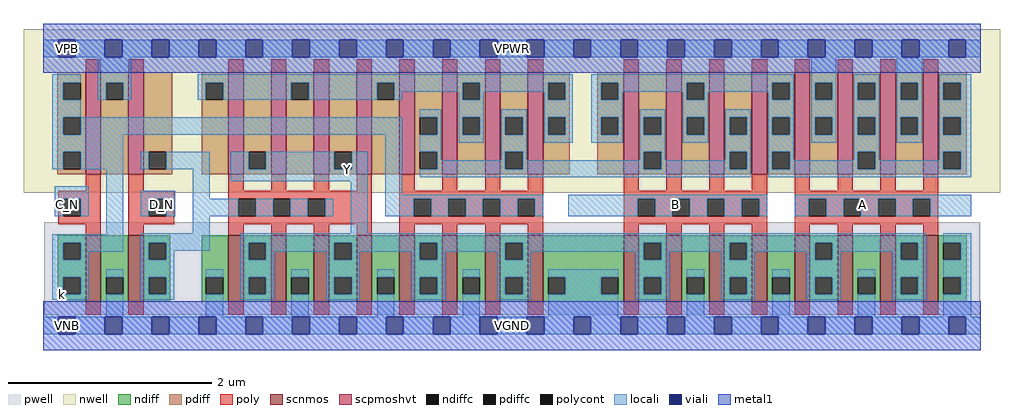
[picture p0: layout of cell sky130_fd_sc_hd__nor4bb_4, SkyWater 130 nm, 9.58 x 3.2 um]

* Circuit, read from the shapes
.subckt sky130_fd_sc_hd__nor4bb_4 A B C_N D_N VGND VNB VPB VPWR Y
XM1 VGND C_N k VNB sky130_fd_pr__nfet_01v8 w=0.65 l=0.15
XM2 n1 D_N VGND VNB sky130_fd_pr__nfet_01v8 w=0.65 l=0.15
XM3 Y n1 VGND VNB sky130_fd_pr__nfet_01v8 w=0.65 l=0.15 m=4
XM4 Y k VGND VNB sky130_fd_pr__nfet_01v8 w=0.65 l=0.15 m=4
XM5 Y B VGND VNB sky130_fd_pr__nfet_01v8 w=0.65 l=0.15 m=4
XM6 Y A VGND VNB sky130_fd_pr__nfet_01v8 w=0.65 l=0.15 m=4
XM7 VPWR C_N k VPB sky130_fd_pr__pfet_01v8_hvt w=1 l=0.15
XM8 n1 D_N VPWR VPB sky130_fd_pr__pfet_01v8_hvt w=1 l=0.15
XM9 Y n1 n2 VPB sky130_fd_pr__pfet_01v8_hvt w=1 l=0.15 m=4
XM10 n3 k n2 VPB sky130_fd_pr__pfet_01v8_hvt w=1 l=0.15 m=4
XM11 n3 B n4 VPB sky130_fd_pr__pfet_01v8_hvt w=1 l=0.15 m=4
XM12 VPWR A n4 VPB sky130_fd_pr__pfet_01v8_hvt w=1 l=0.15 m=4
.ends

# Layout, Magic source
magic
tech sky130B
magscale 1 2
<< nwell >>
rect -38 261 1878 582
<< pwell >>
rect 2 21 1839 203
rect 30 -17 64 21
<< scnmos >>
rect 83 47 113 177
rect 167 47 197 177
rect 363 47 393 177
rect 447 47 477 177
rect 531 47 561 177
rect 615 47 645 177
rect 699 47 729 177
rect 783 47 813 177
rect 867 47 897 177
rect 951 47 981 177
rect 1139 47 1169 177
rect 1223 47 1253 177
rect 1307 47 1337 177
rect 1391 47 1421 177
rect 1475 47 1505 177
rect 1559 47 1589 177
rect 1643 47 1673 177
rect 1727 47 1757 177
<< scpmoshvt >>
rect 83 297 113 497
rect 167 297 197 497
rect 363 297 393 497
rect 447 297 477 497
rect 531 297 561 497
rect 615 297 645 497
rect 699 297 729 497
rect 783 297 813 497
rect 867 297 897 497
rect 951 297 981 497
rect 1139 297 1169 497
rect 1223 297 1253 497
rect 1307 297 1337 497
rect 1391 297 1421 497
rect 1475 297 1505 497
rect 1559 297 1589 497
rect 1643 297 1673 497
rect 1727 297 1757 497
<< ndiff >>
rect 28 163 83 177
rect 28 129 39 163
rect 73 129 83 163
rect 28 95 83 129
rect 28 61 39 95
rect 73 61 83 95
rect 28 47 83 61
rect 113 95 167 177
rect 113 61 123 95
rect 157 61 167 95
rect 113 47 167 61
rect 197 163 249 177
rect 197 129 207 163
rect 241 129 249 163
rect 197 95 249 129
rect 197 61 207 95
rect 241 61 249 95
rect 197 47 249 61
rect 311 95 363 177
rect 311 61 319 95
rect 353 61 363 95
rect 311 47 363 61
rect 393 163 447 177
rect 393 129 403 163
rect 437 129 447 163
rect 393 95 447 129
rect 393 61 403 95
rect 437 61 447 95
rect 393 47 447 61
rect 477 95 531 177
rect 477 61 487 95
rect 521 61 531 95
rect 477 47 531 61
rect 561 163 615 177
rect 561 129 571 163
rect 605 129 615 163
rect 561 95 615 129
rect 561 61 571 95
rect 605 61 615 95
rect 561 47 615 61
rect 645 95 699 177
rect 645 61 655 95
rect 689 61 699 95
rect 645 47 699 61
rect 729 163 783 177
rect 729 129 739 163
rect 773 129 783 163
rect 729 95 783 129
rect 729 61 739 95
rect 773 61 783 95
rect 729 47 783 61
rect 813 95 867 177
rect 813 61 823 95
rect 857 61 867 95
rect 813 47 867 61
rect 897 163 951 177
rect 897 129 907 163
rect 941 129 951 163
rect 897 95 951 129
rect 897 61 907 95
rect 941 61 951 95
rect 897 47 951 61
rect 981 95 1139 177
rect 981 61 991 95
rect 1025 61 1095 95
rect 1129 61 1139 95
rect 981 47 1139 61
rect 1169 163 1223 177
rect 1169 129 1179 163
rect 1213 129 1223 163
rect 1169 95 1223 129
rect 1169 61 1179 95
rect 1213 61 1223 95
rect 1169 47 1223 61
rect 1253 95 1307 177
rect 1253 61 1263 95
rect 1297 61 1307 95
rect 1253 47 1307 61
rect 1337 163 1391 177
rect 1337 129 1347 163
rect 1381 129 1391 163
rect 1337 95 1391 129
rect 1337 61 1347 95
rect 1381 61 1391 95
rect 1337 47 1391 61
rect 1421 95 1475 177
rect 1421 61 1431 95
rect 1465 61 1475 95
rect 1421 47 1475 61
rect 1505 163 1559 177
rect 1505 129 1515 163
rect 1549 129 1559 163
rect 1505 95 1559 129
rect 1505 61 1515 95
rect 1549 61 1559 95
rect 1505 47 1559 61
rect 1589 95 1643 177
rect 1589 61 1599 95
rect 1633 61 1643 95
rect 1589 47 1643 61
rect 1673 163 1727 177
rect 1673 129 1683 163
rect 1717 129 1727 163
rect 1673 95 1727 129
rect 1673 61 1683 95
rect 1717 61 1727 95
rect 1673 47 1727 61
rect 1757 163 1813 177
rect 1757 129 1767 163
rect 1801 129 1813 163
rect 1757 95 1813 129
rect 1757 61 1767 95
rect 1801 61 1813 95
rect 1757 47 1813 61
<< pdiff >>
rect 27 477 83 497
rect 27 443 39 477
rect 73 443 83 477
rect 27 409 83 443
rect 27 375 39 409
rect 73 375 83 409
rect 27 341 83 375
rect 27 307 39 341
rect 73 307 83 341
rect 27 297 83 307
rect 113 477 167 497
rect 113 443 123 477
rect 157 443 167 477
rect 113 297 167 443
rect 197 341 253 497
rect 197 307 207 341
rect 241 307 253 341
rect 197 297 253 307
rect 311 477 363 497
rect 311 443 319 477
rect 353 443 363 477
rect 311 297 363 443
rect 393 341 447 497
rect 393 307 403 341
rect 437 307 447 341
rect 393 297 447 307
rect 477 477 531 497
rect 477 443 487 477
rect 521 443 531 477
rect 477 297 531 443
rect 561 341 615 497
rect 561 307 571 341
rect 605 307 615 341
rect 561 297 615 307
rect 645 477 699 497
rect 645 443 655 477
rect 689 443 699 477
rect 645 297 699 443
rect 729 409 783 497
rect 729 375 739 409
rect 773 375 783 409
rect 729 341 783 375
rect 729 307 739 341
rect 773 307 783 341
rect 729 297 783 307
rect 813 477 867 497
rect 813 443 823 477
rect 857 443 867 477
rect 813 409 867 443
rect 813 375 823 409
rect 857 375 867 409
rect 813 297 867 375
rect 897 409 951 497
rect 897 375 907 409
rect 941 375 951 409
rect 897 341 951 375
rect 897 307 907 341
rect 941 307 951 341
rect 897 297 951 307
rect 981 477 1033 497
rect 981 443 991 477
rect 1025 443 1033 477
rect 981 409 1033 443
rect 981 375 991 409
rect 1025 375 1033 409
rect 981 297 1033 375
rect 1087 477 1139 497
rect 1087 443 1095 477
rect 1129 443 1139 477
rect 1087 409 1139 443
rect 1087 375 1095 409
rect 1129 375 1139 409
rect 1087 297 1139 375
rect 1169 409 1223 497
rect 1169 375 1179 409
rect 1213 375 1223 409
rect 1169 341 1223 375
rect 1169 307 1179 341
rect 1213 307 1223 341
rect 1169 297 1223 307
rect 1253 477 1307 497
rect 1253 443 1263 477
rect 1297 443 1307 477
rect 1253 409 1307 443
rect 1253 375 1263 409
rect 1297 375 1307 409
rect 1253 297 1307 375
rect 1337 409 1391 497
rect 1337 375 1347 409
rect 1381 375 1391 409
rect 1337 341 1391 375
rect 1337 307 1347 341
rect 1381 307 1391 341
rect 1337 297 1391 307
rect 1421 477 1475 497
rect 1421 443 1431 477
rect 1465 443 1475 477
rect 1421 409 1475 443
rect 1421 375 1431 409
rect 1465 375 1475 409
rect 1421 341 1475 375
rect 1421 307 1431 341
rect 1465 307 1475 341
rect 1421 297 1475 307
rect 1505 477 1559 497
rect 1505 443 1515 477
rect 1549 443 1559 477
rect 1505 409 1559 443
rect 1505 375 1515 409
rect 1549 375 1559 409
rect 1505 297 1559 375
rect 1589 477 1643 497
rect 1589 443 1599 477
rect 1633 443 1643 477
rect 1589 409 1643 443
rect 1589 375 1599 409
rect 1633 375 1643 409
rect 1589 341 1643 375
rect 1589 307 1599 341
rect 1633 307 1643 341
rect 1589 297 1643 307
rect 1673 477 1727 497
rect 1673 443 1683 477
rect 1717 443 1727 477
rect 1673 409 1727 443
rect 1673 375 1683 409
rect 1717 375 1727 409
rect 1673 297 1727 375
rect 1757 477 1813 497
rect 1757 443 1767 477
rect 1801 443 1813 477
rect 1757 409 1813 443
rect 1757 375 1767 409
rect 1801 375 1813 409
rect 1757 341 1813 375
rect 1757 307 1767 341
rect 1801 307 1813 341
rect 1757 297 1813 307
<< ndiffc >>
rect 39 129 73 163
rect 39 61 73 95
rect 123 61 157 95
rect 207 129 241 163
rect 207 61 241 95
rect 319 61 353 95
rect 403 129 437 163
rect 403 61 437 95
rect 487 61 521 95
rect 571 129 605 163
rect 571 61 605 95
rect 655 61 689 95
rect 739 129 773 163
rect 739 61 773 95
rect 823 61 857 95
rect 907 129 941 163
rect 907 61 941 95
rect 991 61 1025 95
rect 1095 61 1129 95
rect 1179 129 1213 163
rect 1179 61 1213 95
rect 1263 61 1297 95
rect 1347 129 1381 163
rect 1347 61 1381 95
rect 1431 61 1465 95
rect 1515 129 1549 163
rect 1515 61 1549 95
rect 1599 61 1633 95
rect 1683 129 1717 163
rect 1683 61 1717 95
rect 1767 129 1801 163
rect 1767 61 1801 95
<< pdiffc >>
rect 39 443 73 477
rect 39 375 73 409
rect 39 307 73 341
rect 123 443 157 477
rect 207 307 241 341
rect 319 443 353 477
rect 403 307 437 341
rect 487 443 521 477
rect 571 307 605 341
rect 655 443 689 477
rect 739 375 773 409
rect 739 307 773 341
rect 823 443 857 477
rect 823 375 857 409
rect 907 375 941 409
rect 907 307 941 341
rect 991 443 1025 477
rect 991 375 1025 409
rect 1095 443 1129 477
rect 1095 375 1129 409
rect 1179 375 1213 409
rect 1179 307 1213 341
rect 1263 443 1297 477
rect 1263 375 1297 409
rect 1347 375 1381 409
rect 1347 307 1381 341
rect 1431 443 1465 477
rect 1431 375 1465 409
rect 1431 307 1465 341
rect 1515 443 1549 477
rect 1515 375 1549 409
rect 1599 443 1633 477
rect 1599 375 1633 409
rect 1599 307 1633 341
rect 1683 443 1717 477
rect 1683 375 1717 409
rect 1767 443 1801 477
rect 1767 375 1801 409
rect 1767 307 1801 341
<< poly >>
rect 83 497 113 523
rect 167 497 197 523
rect 363 497 393 523
rect 447 497 477 523
rect 531 497 561 523
rect 615 497 645 523
rect 699 497 729 523
rect 783 497 813 523
rect 867 497 897 523
rect 951 497 981 523
rect 1139 497 1169 523
rect 1223 497 1253 523
rect 1307 497 1337 523
rect 1391 497 1421 523
rect 1475 497 1505 523
rect 1559 497 1589 523
rect 1643 497 1673 523
rect 1727 497 1757 523
rect 83 265 113 297
rect 29 249 113 265
rect 29 215 39 249
rect 73 215 113 249
rect 29 199 113 215
rect 83 177 113 199
rect 167 265 197 297
rect 363 265 393 297
rect 447 265 477 297
rect 531 265 561 297
rect 615 265 645 297
rect 167 249 257 265
rect 167 215 207 249
rect 241 215 257 249
rect 167 199 257 215
rect 363 249 645 265
rect 363 215 383 249
rect 417 215 451 249
rect 485 215 519 249
rect 553 215 645 249
rect 363 199 645 215
rect 167 177 197 199
rect 363 177 393 199
rect 447 177 477 199
rect 531 177 561 199
rect 615 177 645 199
rect 699 265 729 297
rect 783 265 813 297
rect 867 265 897 297
rect 951 265 981 297
rect 699 249 981 265
rect 699 215 727 249
rect 761 215 795 249
rect 829 215 863 249
rect 897 215 931 249
rect 965 215 981 249
rect 699 199 981 215
rect 699 177 729 199
rect 783 177 813 199
rect 867 177 897 199
rect 951 177 981 199
rect 1139 265 1169 297
rect 1223 265 1253 297
rect 1307 265 1337 297
rect 1391 265 1421 297
rect 1139 249 1421 265
rect 1139 215 1167 249
rect 1201 215 1235 249
rect 1269 215 1303 249
rect 1337 215 1371 249
rect 1405 215 1421 249
rect 1139 199 1421 215
rect 1139 177 1169 199
rect 1223 177 1253 199
rect 1307 177 1337 199
rect 1391 177 1421 199
rect 1475 265 1505 297
rect 1559 265 1589 297
rect 1643 265 1673 297
rect 1727 265 1757 297
rect 1475 249 1757 265
rect 1475 215 1503 249
rect 1537 215 1571 249
rect 1605 215 1639 249
rect 1673 215 1707 249
rect 1741 215 1757 249
rect 1475 199 1757 215
rect 1475 177 1505 199
rect 1559 177 1589 199
rect 1643 177 1673 199
rect 1727 177 1757 199
rect 83 21 113 47
rect 167 21 197 47
rect 363 21 393 47
rect 447 21 477 47
rect 531 21 561 47
rect 615 21 645 47
rect 699 21 729 47
rect 783 21 813 47
rect 867 21 897 47
rect 951 21 981 47
rect 1139 21 1169 47
rect 1223 21 1253 47
rect 1307 21 1337 47
rect 1391 21 1421 47
rect 1475 21 1505 47
rect 1559 21 1589 47
rect 1643 21 1673 47
rect 1727 21 1757 47
<< polycont >>
rect 39 215 73 249
rect 207 215 241 249
rect 383 215 417 249
rect 451 215 485 249
rect 519 215 553 249
rect 727 215 761 249
rect 795 215 829 249
rect 863 215 897 249
rect 931 215 965 249
rect 1167 215 1201 249
rect 1235 215 1269 249
rect 1303 215 1337 249
rect 1371 215 1405 249
rect 1503 215 1537 249
rect 1571 215 1605 249
rect 1639 215 1673 249
rect 1707 215 1741 249
<< locali >>
rect 0 527 29 561
rect 63 527 121 561
rect 155 527 213 561
rect 247 527 305 561
rect 339 527 397 561
rect 431 527 489 561
rect 523 527 581 561
rect 615 527 673 561
rect 707 527 765 561
rect 799 527 857 561
rect 891 527 949 561
rect 983 527 1041 561
rect 1075 527 1133 561
rect 1167 527 1225 561
rect 1259 527 1317 561
rect 1351 527 1409 561
rect 1443 527 1501 561
rect 1535 527 1593 561
rect 1627 527 1685 561
rect 1719 527 1777 561
rect 1811 527 1840 561
rect 17 477 73 493
rect 17 443 39 477
rect 107 477 173 527
rect 107 443 123 477
rect 157 443 173 477
rect 303 477 1039 493
rect 303 443 319 477
rect 353 443 487 477
rect 521 443 655 477
rect 689 459 823 477
rect 689 443 705 459
rect 815 443 823 459
rect 857 459 991 477
rect 857 443 865 459
rect 17 409 73 443
rect 739 409 781 425
rect 17 375 39 409
rect 73 375 705 409
rect 17 341 157 375
rect 17 307 39 341
rect 73 307 157 341
rect 191 307 207 341
rect 241 307 327 341
rect 22 249 89 273
rect 22 215 39 249
rect 73 215 89 249
rect 123 179 157 307
rect 191 249 259 265
rect 191 215 207 249
rect 241 215 259 249
rect 293 249 327 307
rect 368 307 403 341
rect 437 307 571 341
rect 605 307 637 341
rect 368 283 637 307
rect 293 215 383 249
rect 417 215 451 249
rect 485 215 519 249
rect 553 215 569 249
rect 293 181 327 215
rect 603 181 637 283
rect 671 257 705 375
rect 773 375 781 409
rect 739 341 781 375
rect 815 409 865 443
rect 983 443 991 459
rect 1025 443 1039 477
rect 815 375 823 409
rect 857 375 865 409
rect 815 359 865 375
rect 899 409 949 425
rect 899 375 907 409
rect 941 375 949 409
rect 773 325 781 341
rect 899 341 949 375
rect 983 409 1039 443
rect 983 375 991 409
rect 1025 375 1039 409
rect 983 359 1039 375
rect 1076 477 1473 493
rect 1076 443 1095 477
rect 1129 459 1263 477
rect 1129 443 1137 459
rect 1076 409 1137 443
rect 1255 443 1263 459
rect 1297 459 1431 477
rect 1297 443 1305 459
rect 1076 375 1095 409
rect 1129 375 1137 409
rect 1076 359 1137 375
rect 1171 409 1221 425
rect 1171 375 1179 409
rect 1213 375 1221 409
rect 899 325 907 341
rect 773 307 907 325
rect 941 325 949 341
rect 1171 341 1221 375
rect 1255 409 1305 443
rect 1423 443 1431 459
rect 1465 443 1473 477
rect 1255 375 1263 409
rect 1297 375 1305 409
rect 1255 359 1305 375
rect 1339 409 1389 425
rect 1339 375 1347 409
rect 1381 375 1389 409
rect 1171 325 1179 341
rect 941 307 1179 325
rect 1213 325 1221 341
rect 1339 341 1389 375
rect 1339 325 1347 341
rect 1213 307 1347 325
rect 1381 307 1389 341
rect 739 291 1389 307
rect 1423 409 1473 443
rect 1423 375 1431 409
rect 1465 375 1473 409
rect 1423 341 1473 375
rect 1507 477 1557 527
rect 1507 443 1515 477
rect 1549 443 1557 477
rect 1507 409 1557 443
rect 1507 375 1515 409
rect 1549 375 1557 409
rect 1507 359 1557 375
rect 1591 477 1641 493
rect 1591 443 1599 477
rect 1633 443 1641 477
rect 1591 409 1641 443
rect 1591 375 1599 409
rect 1633 375 1641 409
rect 1423 307 1431 341
rect 1465 325 1473 341
rect 1591 341 1641 375
rect 1675 477 1725 527
rect 1675 443 1683 477
rect 1717 443 1725 477
rect 1675 409 1725 443
rect 1675 375 1683 409
rect 1717 375 1725 409
rect 1675 359 1725 375
rect 1759 477 1822 493
rect 1759 443 1767 477
rect 1801 443 1822 477
rect 1759 409 1822 443
rect 1759 375 1767 409
rect 1801 375 1822 409
rect 1591 325 1599 341
rect 1465 307 1599 325
rect 1633 325 1641 341
rect 1759 341 1822 375
rect 1759 325 1767 341
rect 1633 307 1767 325
rect 1801 307 1822 341
rect 1423 291 1822 307
rect 671 249 981 257
rect 671 215 727 249
rect 761 215 795 249
rect 829 215 863 249
rect 897 215 931 249
rect 965 215 981 249
rect 1030 249 1421 257
rect 1030 215 1167 249
rect 1201 215 1235 249
rect 1269 215 1303 249
rect 1337 215 1371 249
rect 1405 215 1421 249
rect 1475 249 1822 257
rect 1475 215 1503 249
rect 1537 215 1571 249
rect 1605 215 1639 249
rect 1673 215 1707 249
rect 1741 215 1822 249
rect 17 163 157 179
rect 17 129 39 163
rect 73 145 157 163
rect 191 163 327 181
rect 73 129 89 145
rect 17 95 89 129
rect 191 129 207 163
rect 241 147 327 163
rect 387 163 1733 181
rect 241 129 257 147
rect 17 61 39 95
rect 73 61 89 95
rect 17 51 89 61
rect 123 95 157 111
rect 123 17 157 61
rect 191 95 257 129
rect 387 129 403 163
rect 437 145 571 163
rect 437 129 453 145
rect 191 61 207 95
rect 241 61 257 95
rect 191 51 257 61
rect 319 95 353 111
rect 319 17 353 61
rect 387 95 453 129
rect 555 129 571 145
rect 605 145 739 163
rect 605 129 621 145
rect 387 61 403 95
rect 437 61 453 95
rect 387 51 453 61
rect 487 95 521 111
rect 487 17 521 61
rect 555 95 621 129
rect 723 129 739 145
rect 773 145 907 163
rect 773 129 789 145
rect 555 61 571 95
rect 605 61 621 95
rect 555 51 621 61
rect 655 95 689 111
rect 655 17 689 61
rect 723 95 789 129
rect 891 129 907 145
rect 941 145 1179 163
rect 941 129 957 145
rect 723 61 739 95
rect 773 61 789 95
rect 723 51 789 61
rect 823 95 857 111
rect 823 17 857 61
rect 891 95 957 129
rect 1163 129 1179 145
rect 1213 145 1347 163
rect 1213 129 1229 145
rect 891 61 907 95
rect 941 61 957 95
rect 891 51 957 61
rect 991 95 1129 111
rect 1025 61 1095 95
rect 991 17 1129 61
rect 1163 95 1229 129
rect 1331 129 1347 145
rect 1381 145 1515 163
rect 1381 129 1397 145
rect 1163 61 1179 95
rect 1213 61 1229 95
rect 1163 51 1229 61
rect 1263 95 1297 111
rect 1263 17 1297 61
rect 1331 95 1397 129
rect 1499 129 1515 145
rect 1549 145 1683 163
rect 1549 129 1565 145
rect 1331 61 1347 95
rect 1381 61 1397 95
rect 1331 51 1397 61
rect 1431 95 1465 111
rect 1431 17 1465 61
rect 1499 95 1565 129
rect 1667 129 1683 145
rect 1717 129 1733 163
rect 1499 61 1515 95
rect 1549 61 1565 95
rect 1499 51 1565 61
rect 1599 95 1633 111
rect 1599 17 1633 61
rect 1667 95 1733 129
rect 1667 61 1683 95
rect 1717 61 1733 95
rect 1667 51 1733 61
rect 1767 163 1822 181
rect 1801 129 1822 163
rect 1767 95 1822 129
rect 1801 61 1822 95
rect 1767 17 1822 61
rect 0 -17 29 17
rect 63 -17 121 17
rect 155 -17 213 17
rect 247 -17 305 17
rect 339 -17 397 17
rect 431 -17 489 17
rect 523 -17 581 17
rect 615 -17 673 17
rect 707 -17 765 17
rect 799 -17 857 17
rect 891 -17 949 17
rect 983 -17 1041 17
rect 1075 -17 1133 17
rect 1167 -17 1225 17
rect 1259 -17 1317 17
rect 1351 -17 1409 17
rect 1443 -17 1501 17
rect 1535 -17 1593 17
rect 1627 -17 1685 17
rect 1719 -17 1777 17
rect 1811 -17 1840 17
<< viali >>
rect 29 527 63 561
rect 121 527 155 561
rect 213 527 247 561
rect 305 527 339 561
rect 397 527 431 561
rect 489 527 523 561
rect 581 527 615 561
rect 673 527 707 561
rect 765 527 799 561
rect 857 527 891 561
rect 949 527 983 561
rect 1041 527 1075 561
rect 1133 527 1167 561
rect 1225 527 1259 561
rect 1317 527 1351 561
rect 1409 527 1443 561
rect 1501 527 1535 561
rect 1593 527 1627 561
rect 1685 527 1719 561
rect 1777 527 1811 561
rect 29 -17 63 17
rect 121 -17 155 17
rect 213 -17 247 17
rect 305 -17 339 17
rect 397 -17 431 17
rect 489 -17 523 17
rect 581 -17 615 17
rect 673 -17 707 17
rect 765 -17 799 17
rect 857 -17 891 17
rect 949 -17 983 17
rect 1041 -17 1075 17
rect 1133 -17 1167 17
rect 1225 -17 1259 17
rect 1317 -17 1351 17
rect 1409 -17 1443 17
rect 1501 -17 1535 17
rect 1593 -17 1627 17
rect 1685 -17 1719 17
rect 1777 -17 1811 17
<< metal1 >>
rect 0 561 1840 592
rect 0 527 29 561
rect 63 527 121 561
rect 155 527 213 561
rect 247 527 305 561
rect 339 527 397 561
rect 431 527 489 561
rect 523 527 581 561
rect 615 527 673 561
rect 707 527 765 561
rect 799 527 857 561
rect 891 527 949 561
rect 983 527 1041 561
rect 1075 527 1133 561
rect 1167 527 1225 561
rect 1259 527 1317 561
rect 1351 527 1409 561
rect 1443 527 1501 561
rect 1535 527 1593 561
rect 1627 527 1685 561
rect 1719 527 1777 561
rect 1811 527 1840 561
rect 0 496 1840 527
rect 0 17 1840 48
rect 0 -17 29 17
rect 63 -17 121 17
rect 155 -17 213 17
rect 247 -17 305 17
rect 339 -17 397 17
rect 431 -17 489 17
rect 523 -17 581 17
rect 615 -17 673 17
rect 707 -17 765 17
rect 799 -17 857 17
rect 891 -17 949 17
rect 983 -17 1041 17
rect 1075 -17 1133 17
rect 1167 -17 1225 17
rect 1259 -17 1317 17
rect 1351 -17 1409 17
rect 1443 -17 1501 17
rect 1535 -17 1593 17
rect 1627 -17 1685 17
rect 1719 -17 1777 17
rect 1811 -17 1840 17
rect 0 -48 1840 -17
<< labels >>
flabel locali s 214 221 248 255 0 FreeSans 400 180 0 0 D_N
port 4 nsew signal input
flabel locali s 580 289 614 323 0 FreeSans 400 180 0 0 Y
port 9 nsew signal output
flabel locali s 1592 221 1626 255 0 FreeSans 400 180 0 0 A
port 1 nsew signal input
flabel locali s 1224 221 1258 255 0 FreeSans 400 180 0 0 B
port 2 nsew signal input
flabel locali s 30 221 64 255 0 FreeSans 400 0 0 0 C_N
port 3 nsew signal input
flabel pwell s 30 -17 64 17 0 FreeSans 200 0 0 0 VNB
port 6 nsew ground bidirectional
flabel nwell s 30 527 64 561 0 FreeSans 200 0 0 0 VPB
port 7 nsew power bidirectional
flabel metal1 s 30 -17 64 17 0 FreeSans 200 0 0 0 VGND
port 5 nsew ground bidirectional abutment
flabel metal1 s 30 527 64 561 0 FreeSans 200 0 0 0 VPWR
port 8 nsew power bidirectional abutment
flabel ndiff 38 61 38 61 0 FreeSans 240 0 0 0 k
rlabel comment s 0 0 0 0 4 nor4bb_4
rlabel metal1 s 0 -48 1840 48 1 VGND
port 5 nsew ground bidirectional abutment
rlabel metal1 s 0 496 1840 592 1 VPWR
port 8 nsew power bidirectional abutment
<< properties >>
string FIXED_BBOX 0 0 1840 544
string GDS_END 1205692
string GDS_FILE $PDKPATH/libs.ref/sky130_fd_sc_hd/gds/sky130_fd_sc_hd.gds
string GDS_START 1192168
string LEFclass CORE
string LEFsite unithd
string LEFsymmetry X Y R90
string path 0.000 0.000 9.200 0.000 
<< end >>
